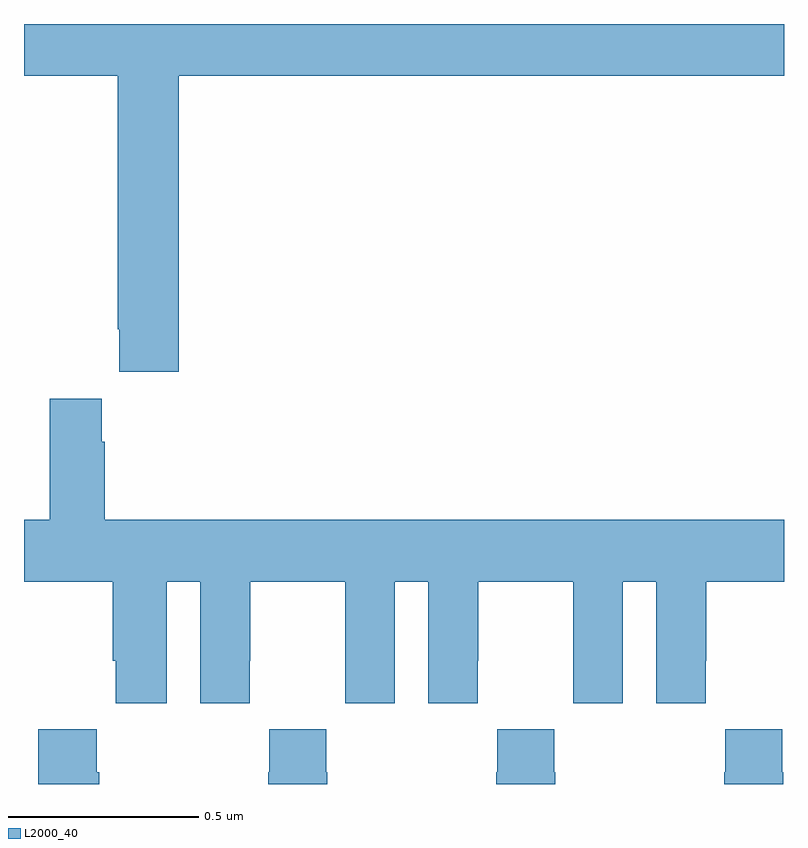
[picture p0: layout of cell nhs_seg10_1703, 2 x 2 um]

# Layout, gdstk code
import gdstk
lib = gdstk.Library(unit=1e-6, precision=1e-09)
def P(c, l, *ps):  # polygons
    for p in ps: c.add(gdstk.Polygon(p, *l))
L2000_40 = (2000, 40)

nhs_seg10_1703 = lib.new_cell('nhs_seg10_1703')
P(nhs_seg10_1703, L2000_40, [(132.407,1252.364),(134,1252.364),(134,1252.5),(132,1252.5),(132,1252.364),(132.247,1252.364),(132.247,1251.697),(132.251,1251.697),(132.251,1251.585),(132.407,1251.585)],
  [(132.376,1251.032),(132.464,1251.032),(132.464,1250.712),(132.594,1250.712),(132.594,1250.824),(132.595,1250.824),(132.595,1251.032),(132.845,1251.032),(132.845,1250.824),(132.846,1250.824),(132.846,1250.712),(132.976,1250.712),(132.976,1251.032),(133.064,1251.032),(133.064,1250.712),(133.194,1250.712),(133.194,1250.824),(133.195,1250.824),(133.195,1251.032),(133.445,1251.032),(133.445,1250.824),(133.446,1250.824),(133.446,1250.712),(133.576,1250.712),(133.576,1251.032),(133.664,1251.032),(133.664,1250.712),(133.794,1250.712),(133.794,1250.824),(133.795,1250.824),(133.795,1251.032),(134,1251.032),(134,1251.196),(132.212,1251.196),(132.212,1251.401),(132.205,1251.401),(132.205,1251.514),(132.068,1251.514),(132.068,1251.196),(132,1251.196),(132,1251.032),(132.233,1251.032),(132.233,1250.824),(132.242,1250.824),(132.242,1250.712),(132.376,1250.712)],
  [(132.798,1250.531),(132.795,1250.531),(132.795,1250.644),(132.645,1250.644),(132.645,1250.531),(132.643,1250.531),(132.643,1250.5),(132.798,1250.5)],
  [(132.198,1250.531),(132.191,1250.531),(132.191,1250.644),(132.038,1250.644),(132.038,1250.5),(132.198,1250.5)],
  [(133.398,1250.531),(133.395,1250.531),(133.395,1250.644),(133.245,1250.644),(133.245,1250.531),(133.243,1250.531),(133.243,1250.5),(133.398,1250.5)],
  [(133.998,1250.531),(133.995,1250.531),(133.995,1250.644),(133.845,1250.644),(133.845,1250.531),(133.843,1250.531),(133.843,1250.5),(133.998,1250.5)])

lib.write_gds('nhs_seg10_1703.gds')
